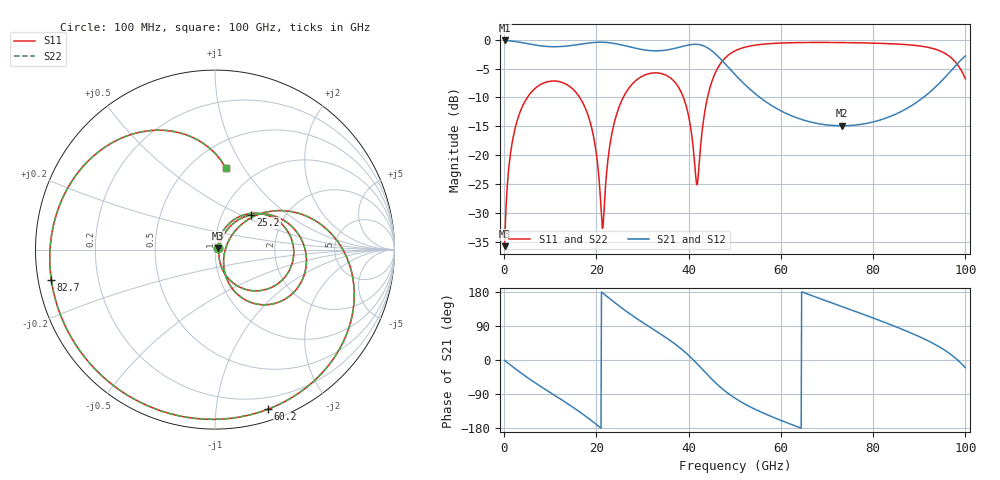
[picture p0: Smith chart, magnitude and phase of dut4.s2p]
! Touchstone file exported from HFSS 2026.1.0
!  File:  C:/ffzhzh/LocalFiles/Ansys_Project_Files/temp_train_TSV_RDL_4_1783435666_28540.aedt
!  Generated:  11:00:18 PM Jul  7, 2026
!  Design:  TSV_RDL
!  Project:  temp_train_TSV_RDL_4_1783435666_28540
! Variables:
!  h_bsmrdl = 4.98um
!  h_ox = 20um
!  h_rdl = 5um
!  h_sub = 61.45um
!  h_tmrdl = 3.52um
!  h_tsv = 61.45um
!  h_via = 3um
!  l_bsmrdl = 554.47um
!  l_sub = 2673.4um
!  l_tmrdl = 123.42um
!  m_sub = 200um
!  pitch = 40.34um
!  r_tsv = 14.53um
!  s_tmrdl = 10um
!  w_bsmrdl = 10.45um
!  w_sub = 500um
!  w_tmrdl = 28.32um
!  x_tsv_center1 = 137.58um
!  x_tsv_center2 = 702.5um
!  x_tsv_center3 = 854.24um
!  x_tsv_center4 = 1419.16um
!  x_tsv_center5 = 1570.9um
!  x_tsv_center6 = 2135.82um
# GHz S MA R 50.000000
! Terminal data exported
! Port[1] = TM_RDL1_1_T1
! Port[2] = TM_RDL5_1_T1
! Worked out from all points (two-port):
!   1000 points, 100 MHz to 100 GHz, reference 50 ohm
!   highest |S21| = -0.12 dB at 100 MHz (marker M1); lowest = -14.9 dB at 73.2 GHz (marker M2)
!   |S21| within 3 dB of the highest: start of sweep to 46.67 GHz; 99.5286 GHz to end of sweep
!   lowest |S11| = -35.8 dB at 100 MHz (marker M3), VSWR 1.03, Z = 51.4 + j0.813 ohm
!   |S11| at or under -10 dB: start of sweep to 5.021 GHz; 16.39 GHz to 25.81 GHz (9.426 GHz wide, 44.7 % of centre); 38.87 GHz to 44.09 GHz (5.219 GHz wide, 12.6 % of centre)
!   |S22| runs from -35.8 to -0.5 dB; largest |S21 - S12| = 2.9e-14
!   S11 on the Smith chart (normalised r, x): 100 MHz: 1.03, +0.02; 25.2 GHz: 1.36, +0.57; 60.2 GHz: 0.09, -1.38; 82.7 GHz: 0.04, -0.09; 100 GHz: 0.72, +0.83
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0.1  0.01631 29.0  0.9858 -1.0  0.9858 -1.0  0.01631 29.0
! Gamma 0 0 0 0
! Port Impedance 50 0 50 0
1.7  0.1258 65.4  0.974 -16.3  0.974 -16.3  0.1258 65.4
4.7  0.3016 42.2  0.9298 -43.4  0.9298 -43.4  0.3016 42.2
10.8  0.4393 -4.4  0.8698 -92.1  0.8698 -92.1  0.4393 -4.4
16.8  0.297 -49.8  0.9185 -140.7  0.9185 -140.7  0.297 -49.7
19.4  0.1438 -68.1  0.9467 -164.4  0.9467 -164.4  0.1438 -68.0
21.3  0.02328 -12.5  0.9519 177.3  0.9519 177.3  0.02339 -12.5
23.1  0.1355 58.1  0.9392 159.9  0.9392 159.9  0.1355 58.1
25.2  0.2794 44.0  0.9061 140.1  0.9061 140.1  0.2794 44.0
33.4  0.5154 -18.2  0.8025 72.6  0.8025 72.6  0.5154 -18.1
38.8  0.3215 -59.5  0.8781 25.2  0.8781 25.2  0.3215 -59.4
41.8  0.05557 -13.2  0.9123 -9.3  0.9123 -9.3  0.05591 -13.1
44.8  0.4063 32.3  0.8149 -47.8  0.8149 -47.8  0.4064 32.3
50.1  0.8029 -15.3  0.4973 -101.2  0.4973 -101.2  0.8029 -15.3
60.2  0.937 -71.7  0.2401 -160.3  0.2401 -160.3  0.9369 -71.6
66.7  0.9474 -100.4  0.1928 169.9  0.1928 169.9  0.9474 -100.4
73.2  0.9452 -128.2  0.18 141.3  0.18 141.3  0.9451 -128.1
82.7  0.9274 -169.6  0.2092 98.4  0.2092 98.4  0.9272 -169.6
83.4  0.9251 -172.8  0.2143 95.1  0.2143 95.1  0.925 -172.8
89.3  0.8917 158.5  0.2849 65.5  0.2849 65.5  0.8916 158.5
94.4  0.803 128.2  0.422 34.4  0.422 34.4  0.8029 128.1
100  0.4593 82.7  0.7247 -20.3  0.7247 -20.3  0.459 82.5
